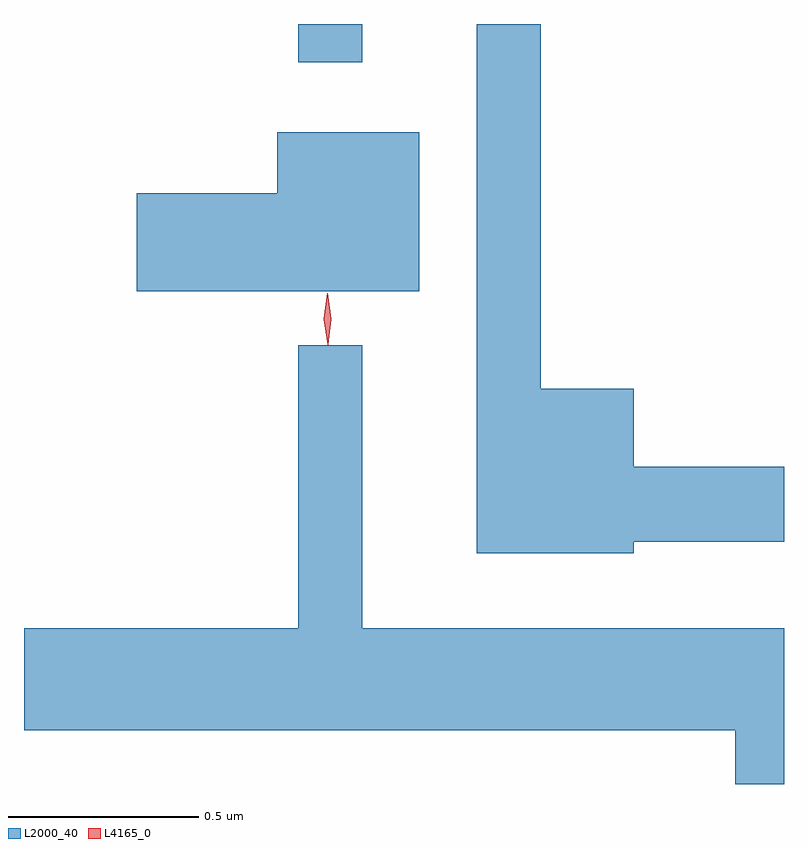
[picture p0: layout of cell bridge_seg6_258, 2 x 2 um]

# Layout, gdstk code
import gdstk
lib = gdstk.Library(unit=1e-6, precision=1e-09)
def R(c, l, rs):  # rectangles x0, y0, x1, y1
    for r in rs: c.add(gdstk.rectangle(r[:2], r[2:], *l))
def P(c, l, *ps):  # polygons
    for p in ps: c.add(gdstk.Polygon(p, *l))
L2000_40 = (2000, 40)
L4165_0 = (4165, 0)

bridge_seg6_258 = lib.new_cell('bridge_seg6_258')
R(bridge_seg6_258, L2000_40, [(1380.111,1578.433,1380.279,1578.534)])
P(bridge_seg6_258, L2000_40, [(1380.994,1577.171),(1381.389,1577.171),(1381.389,1577.369),(1380.994,1577.369),(1380.994,1577.574),(1380.749,1577.574),(1380.749,1578.534),(1380.581,1578.534),(1380.581,1577.141),(1380.994,1577.141)],
  [(1380.429,1578.249),(1380.056,1578.249),(1380.056,1578.089),(1379.686,1578.089),(1379.686,1577.831),(1380.429,1577.831)],
  [(1381.389,1576.944),(1380.279,1576.944),(1380.279,1577.688),(1380.111,1577.688),(1380.111,1576.944),(1379.389,1576.944),(1379.389,1576.676),(1381.261,1576.676),(1381.261,1576.534),(1381.389,1576.534)])
P(bridge_seg6_258, L4165_0, [(1380.188,1577.693),(1380.188,1577.694),(1380.178,1577.756),(1380.187,1577.819),(1380.187,1577.82),(1380.188,1577.819),(1380.198,1577.756),(1380.189,1577.694)],
  [(1380.188,1577.69),(1380.188,1577.69),(1380.178,1577.758),(1380.187,1577.825),(1380.188,1577.826),(1380.188,1577.825),(1380.198,1577.758),(1380.189,1577.69)])

lib.write_gds('bridge_seg6_258.gds')
